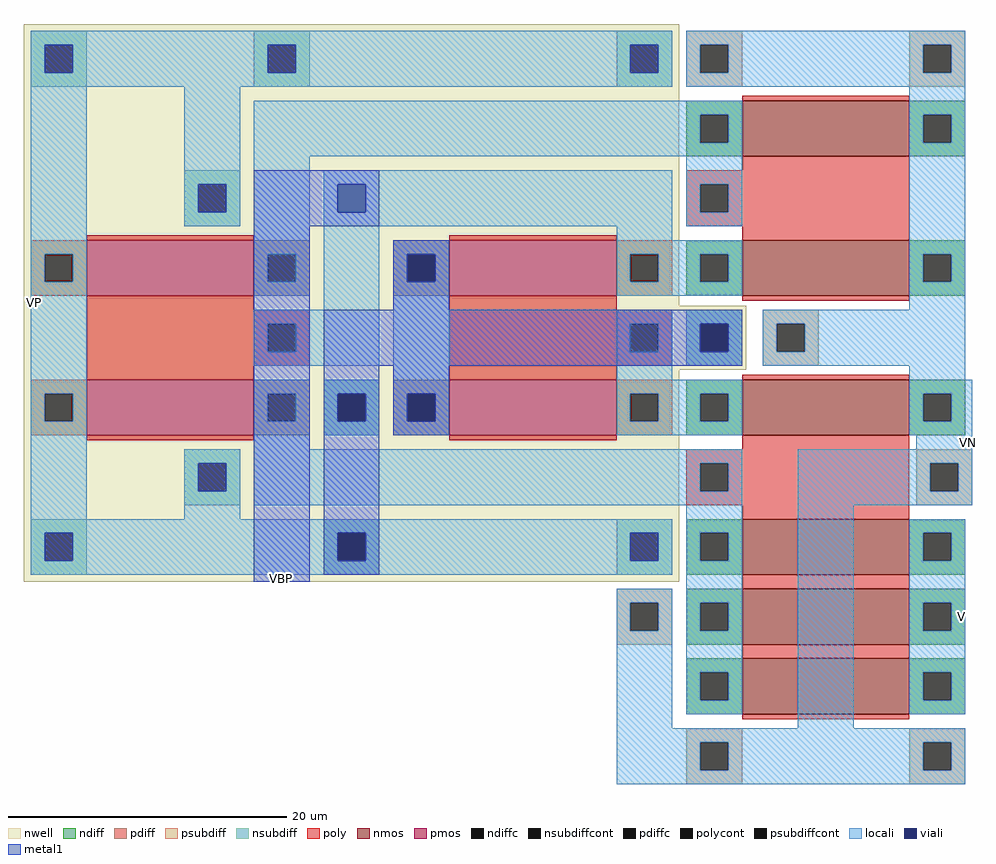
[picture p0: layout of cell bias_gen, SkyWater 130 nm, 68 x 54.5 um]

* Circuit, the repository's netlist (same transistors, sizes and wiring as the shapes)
* SPICE3 file created from bias_gen.ext - technology: sky130A

X0 a_17900_29830# a_17900_29830# VP VP sky130_fd_pr__pfet_01v8 ad=16 pd=16 as=16 ps=16 w=4 l=12
X1 VN a_15100_29900# a_17900_29830# VN sky130_fd_pr__nfet_01v8 ad=16 pd=16 as=16 ps=16 w=4 l=12
X2 a_15100_29900# VBP VP VP sky130_fd_pr__pfet_01v8 ad=16 pd=16 as=16 ps=16 w=4 l=12
X3 V a_15100_29900# a_15100_29900# VN sky130_fd_pr__nfet_01v8 ad=16 pd=16 as=16 ps=16 w=4 l=12
X4 V a_15100_29900# a_15100_29900# VN sky130_fd_pr__nfet_01v8 ad=16 pd=16 as=16 ps=16 w=4 l=12
X5 V a_15100_29900# a_15100_29900# VN sky130_fd_pr__nfet_01v8 ad=16 pd=16 as=16 ps=16 w=4 l=12
X6 VBP a_17900_29830# VP VP sky130_fd_pr__pfet_01v8 ad=16 pd=16 as=16 ps=16 w=4 l=12
X7 VN a_15100_31900# a_15100_31900# VN sky130_fd_pr__nfet_01v8 ad=16 pd=16 as=16 ps=16 w=4 l=12
X8 VN a_15100_31900# VBP VN sky130_fd_pr__nfet_01v8 ad=16 pd=16 as=16 ps=16 w=4 l=12
X9 a_15100_31900# VBP VP VP sky130_fd_pr__pfet_01v8 ad=16 pd=16 as=16 ps=16 w=4 l=12

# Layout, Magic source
magic
tech sky130A
<< nwell >>
rect 5900 15880 10600 17900
rect 5900 15420 11080 15880
rect 5900 13900 10600 15420
<< nmos >>
rect 11050 16950 12250 17350
rect 11050 15950 12250 16350
rect 11050 14950 12250 15350
rect 11050 13950 12250 14350
rect 11050 13450 12250 13850
rect 11050 12950 12250 13350
<< pmos >>
rect 6350 15950 7550 16350
rect 8950 15950 10150 16350
rect 6350 14950 7550 15350
rect 8950 14950 10150 15350
<< ndiff >>
rect 10650 17250 11050 17350
rect 10650 17050 10750 17250
rect 10950 17050 11050 17250
rect 10650 16950 11050 17050
rect 12250 17250 12650 17350
rect 12250 17050 12350 17250
rect 12550 17050 12650 17250
rect 12250 16950 12650 17050
rect 10650 16250 11050 16350
rect 10650 16050 10750 16250
rect 10950 16050 11050 16250
rect 10650 15950 11050 16050
rect 12250 16250 12650 16350
rect 12250 16050 12350 16250
rect 12550 16050 12650 16250
rect 12250 15950 12650 16050
rect 10650 15250 11050 15350
rect 10650 15050 10750 15250
rect 10950 15050 11050 15250
rect 10650 14950 11050 15050
rect 12250 15250 12650 15350
rect 12250 15050 12350 15250
rect 12550 15050 12650 15250
rect 12250 14950 12650 15050
rect 10650 14250 11050 14350
rect 10650 14050 10750 14250
rect 10950 14050 11050 14250
rect 10650 13950 11050 14050
rect 12250 14250 12650 14350
rect 12250 14050 12350 14250
rect 12550 14050 12650 14250
rect 12250 13950 12650 14050
rect 10650 13750 11050 13850
rect 10650 13550 10750 13750
rect 10950 13550 11050 13750
rect 10650 13450 11050 13550
rect 12250 13750 12650 13850
rect 12250 13550 12350 13750
rect 12550 13550 12650 13750
rect 12250 13450 12650 13550
rect 10650 13250 11050 13350
rect 10650 13050 10750 13250
rect 10950 13050 11050 13250
rect 10650 12950 11050 13050
rect 12250 13250 12650 13350
rect 12250 13050 12350 13250
rect 12550 13050 12650 13250
rect 12250 12950 12650 13050
<< pdiff >>
rect 5950 16250 6350 16350
rect 5950 16050 6050 16250
rect 6250 16050 6350 16250
rect 5950 15950 6350 16050
rect 7550 16250 7950 16350
rect 7550 16050 7650 16250
rect 7850 16050 7950 16250
rect 7550 15950 7950 16050
rect 8550 16250 8950 16350
rect 8550 16050 8650 16250
rect 8850 16050 8950 16250
rect 8550 15950 8950 16050
rect 10150 16250 10550 16350
rect 10150 16050 10250 16250
rect 10450 16050 10550 16250
rect 10150 15950 10550 16050
rect 5950 15250 6350 15350
rect 5950 15050 6050 15250
rect 6250 15050 6350 15250
rect 5950 14950 6350 15050
rect 7550 15250 7950 15350
rect 7550 15050 7650 15250
rect 7850 15050 7950 15250
rect 7550 14950 7950 15050
rect 8550 15250 8950 15350
rect 8550 15050 8650 15250
rect 8850 15050 8950 15250
rect 8550 14950 8950 15050
rect 10150 15250 10550 15350
rect 10150 15050 10250 15250
rect 10450 15050 10550 15250
rect 10150 14950 10550 15050
<< ndiffc >>
rect 10750 17050 10950 17250
rect 12350 17050 12550 17250
rect 10750 16050 10950 16250
rect 12350 16050 12550 16250
rect 10750 15050 10950 15250
rect 12350 15050 12550 15250
rect 10750 14050 10950 14250
rect 12350 14050 12550 14250
rect 10750 13550 10950 13750
rect 12350 13550 12550 13750
rect 10750 13050 10950 13250
rect 12350 13050 12550 13250
<< pdiffc >>
rect 6050 16050 6250 16250
rect 7650 16050 7850 16250
rect 8650 16050 8850 16250
rect 10250 16050 10450 16250
rect 6050 15050 6250 15250
rect 7650 15050 7850 15250
rect 8650 15050 8850 15250
rect 10250 15050 10450 15250
<< psubdiff >>
rect 10650 17750 11050 17850
rect 10650 17550 10750 17750
rect 10950 17550 11050 17750
rect 10650 17450 11050 17550
rect 12250 17750 12650 17850
rect 12250 17550 12350 17750
rect 12550 17550 12650 17750
rect 12250 17450 12650 17550
rect 11200 15750 11600 15850
rect 11200 15550 11300 15750
rect 11500 15550 11600 15750
rect 11200 15450 11600 15550
rect 12300 14750 12700 14850
rect 12300 14550 12400 14750
rect 12600 14550 12700 14750
rect 12300 14450 12700 14550
rect 10150 13750 10550 13850
rect 10150 13550 10250 13750
rect 10450 13550 10550 13750
rect 10150 13450 10550 13550
rect 10650 12750 11050 12850
rect 10650 12550 10750 12750
rect 10950 12550 11050 12750
rect 10650 12450 11050 12550
rect 12250 12750 12650 12850
rect 12250 12550 12350 12750
rect 12550 12550 12650 12750
rect 12250 12450 12650 12550
<< nsubdiff >>
rect 5950 17750 6350 17850
rect 5950 17550 6050 17750
rect 6250 17550 6350 17750
rect 5950 17450 6350 17550
rect 7550 17750 7950 17850
rect 7550 17550 7650 17750
rect 7850 17550 7950 17750
rect 7550 17450 7950 17550
rect 10150 17750 10550 17850
rect 10150 17550 10250 17750
rect 10450 17550 10550 17750
rect 10150 17450 10550 17550
rect 7050 16750 7450 16850
rect 7050 16550 7150 16750
rect 7350 16550 7450 16750
rect 7050 16450 7450 16550
rect 10650 15750 11050 15850
rect 10650 15550 10750 15750
rect 10950 15550 11050 15750
rect 10650 15450 11050 15550
rect 8050 15250 8450 15350
rect 8050 15050 8150 15250
rect 8350 15050 8450 15250
rect 8050 14950 8450 15050
rect 7050 14750 7450 14850
rect 7050 14550 7150 14750
rect 7350 14550 7450 14750
rect 7050 14450 7450 14550
rect 5950 14250 6350 14350
rect 5950 14050 6050 14250
rect 6250 14050 6350 14250
rect 5950 13950 6350 14050
rect 8050 14250 8450 14350
rect 8050 14050 8150 14250
rect 8350 14050 8450 14250
rect 8050 13950 8450 14050
rect 10150 14250 10550 14350
rect 10150 14050 10250 14250
rect 10450 14050 10550 14250
rect 10150 13950 10550 14050
<< psubdiffcont >>
rect 10750 17550 10950 17750
rect 12350 17550 12550 17750
rect 11300 15550 11500 15750
rect 12400 14550 12600 14750
rect 10250 13550 10450 13750
rect 10750 12550 10950 12750
rect 12350 12550 12550 12750
<< nsubdiffcont >>
rect 6050 17550 6250 17750
rect 7650 17550 7850 17750
rect 10250 17550 10450 17750
rect 7150 16550 7350 16750
rect 10750 15550 10950 15750
rect 8150 15050 8350 15250
rect 7150 14550 7350 14750
rect 6050 14050 6250 14250
rect 8150 14050 8350 14250
rect 10250 14050 10450 14250
<< poly >>
rect 11050 17350 12250 17385
rect 11050 16850 12250 16950
rect 10650 16750 12250 16850
rect 10650 16550 10750 16750
rect 10950 16550 12250 16750
rect 10650 16450 12250 16550
rect 6350 16350 7550 16385
rect 8950 16350 10150 16385
rect 11050 16350 12250 16450
rect 6350 15850 7550 15950
rect 8950 15850 10150 15950
rect 11050 15915 12250 15950
rect 6350 15750 7950 15850
rect 6350 15550 7650 15750
rect 7850 15550 7950 15750
rect 6350 15450 7950 15550
rect 8950 15750 10550 15850
rect 8950 15550 10250 15750
rect 10450 15550 10550 15750
rect 8950 15450 10550 15550
rect 6350 15350 7550 15450
rect 8950 15350 10150 15450
rect 11050 15350 12250 15385
rect 6350 14915 7550 14950
rect 8950 14915 10150 14950
rect 11050 14850 12250 14950
rect 10650 14750 12250 14850
rect 10650 14550 10750 14750
rect 10950 14550 12250 14750
rect 10650 14450 12250 14550
rect 11050 14350 12250 14450
rect 11050 13850 12250 13950
rect 11050 13350 12250 13450
rect 11050 12915 12250 12950
<< polycont >>
rect 10750 16550 10950 16750
rect 7650 15550 7850 15750
rect 10250 15550 10450 15750
rect 10750 14550 10950 14750
<< locali >>
rect 5950 17750 10550 17850
rect 5950 17550 6050 17750
rect 6250 17550 7650 17750
rect 7850 17550 10250 17750
rect 10450 17550 10550 17750
rect 5950 17450 10550 17550
rect 10650 17750 12650 17850
rect 10650 17550 10750 17750
rect 10950 17550 12350 17750
rect 12550 17550 12650 17750
rect 10650 17450 12650 17550
rect 5950 16250 6350 17450
rect 7050 16750 7450 17450
rect 7050 16550 7150 16750
rect 7350 16550 7450 16750
rect 7050 16450 7450 16550
rect 7550 17250 11050 17350
rect 7550 17050 10750 17250
rect 10950 17050 11050 17250
rect 7550 16950 11050 17050
rect 5950 16050 6050 16250
rect 6250 16050 6350 16250
rect 5950 15250 6350 16050
rect 7550 16250 7950 16950
rect 7550 16050 7650 16250
rect 7850 16050 7950 16250
rect 7550 15950 7950 16050
rect 8050 16750 10550 16850
rect 8050 16550 8150 16750
rect 8350 16550 10550 16750
rect 8050 16450 10550 16550
rect 10650 16750 11050 16950
rect 10650 16550 10750 16750
rect 10950 16550 11050 16750
rect 10650 16450 11050 16550
rect 12250 17250 12650 17450
rect 12250 17050 12350 17250
rect 12550 17050 12650 17250
rect 8050 15850 8450 16450
rect 10150 16350 10550 16450
rect 7550 15750 8450 15850
rect 7550 15550 7650 15750
rect 7850 15550 8450 15750
rect 7550 15450 8450 15550
rect 8550 16250 8950 16350
rect 8550 16050 8650 16250
rect 8850 16050 8950 16250
rect 5950 15050 6050 15250
rect 6250 15050 6350 15250
rect 5950 14350 6350 15050
rect 7550 15250 7950 15350
rect 7550 15050 7650 15250
rect 7850 15050 7950 15250
rect 7550 14850 7950 15050
rect 8050 15250 8450 15350
rect 8050 15050 8150 15250
rect 8350 15050 8450 15250
rect 8050 14950 8450 15050
rect 8550 15250 8950 16050
rect 10150 16250 11050 16350
rect 10150 16050 10250 16250
rect 10450 16050 10750 16250
rect 10950 16050 11050 16250
rect 10150 15950 11050 16050
rect 12250 16250 12650 17050
rect 12250 16050 12350 16250
rect 12550 16050 12650 16250
rect 12250 15850 12650 16050
rect 8550 15050 8650 15250
rect 8850 15050 8950 15250
rect 8550 14950 8950 15050
rect 10150 15750 10550 15850
rect 10150 15550 10250 15750
rect 10450 15550 10550 15750
rect 10150 15350 10550 15550
rect 10650 15750 11050 15850
rect 10650 15550 10750 15750
rect 10950 15550 11050 15750
rect 10650 15450 11050 15550
rect 11200 15750 12650 15850
rect 11200 15550 11300 15750
rect 11500 15550 12650 15750
rect 11200 15450 12650 15550
rect 12250 15350 12650 15450
rect 10150 15250 11050 15350
rect 10150 15050 10250 15250
rect 10450 15050 10750 15250
rect 10950 15050 11050 15250
rect 10150 14950 11050 15050
rect 12250 15250 12700 15350
rect 12250 15050 12350 15250
rect 12550 15050 12700 15250
rect 12250 14950 12700 15050
rect 12300 14850 12700 14950
rect 7050 14750 7450 14850
rect 7050 14550 7150 14750
rect 7350 14550 7450 14750
rect 7050 14350 7450 14550
rect 7550 14750 11050 14850
rect 7550 14550 10750 14750
rect 10950 14550 11050 14750
rect 7550 14450 11050 14550
rect 5950 14250 10550 14350
rect 5950 14050 6050 14250
rect 6250 14050 8150 14250
rect 8350 14050 10250 14250
rect 10450 14050 10550 14250
rect 5950 13950 10550 14050
rect 10650 14250 11050 14450
rect 10650 14050 10750 14250
rect 10950 14050 11050 14250
rect 10150 13750 10550 13850
rect 10150 13550 10250 13750
rect 10450 13550 10550 13750
rect 10150 12850 10550 13550
rect 10650 13750 11050 14050
rect 10650 13550 10750 13750
rect 10950 13550 11050 13750
rect 10650 13250 11050 13550
rect 10650 13050 10750 13250
rect 10950 13050 11050 13250
rect 10650 12950 11050 13050
rect 11450 14750 12700 14850
rect 11450 14550 12400 14750
rect 12600 14550 12700 14750
rect 11450 14450 12700 14550
rect 11450 12850 11850 14450
rect 12250 14250 12650 14350
rect 12250 14050 12350 14250
rect 12550 14050 12650 14250
rect 12250 13750 12650 14050
rect 12250 13550 12350 13750
rect 12550 13550 12650 13750
rect 12250 13250 12650 13550
rect 12250 13050 12350 13250
rect 12550 13050 12650 13250
rect 12250 12950 12650 13050
rect 10150 12750 12650 12850
rect 10150 12550 10750 12750
rect 10950 12550 12350 12750
rect 12550 12550 12650 12750
rect 10150 12450 12650 12550
<< viali >>
rect 8150 16550 8350 16750
rect 8650 16050 8850 16250
rect 8150 15050 8350 15250
rect 8650 15050 8850 15250
rect 10750 15550 10950 15750
rect 8150 14050 8350 14250
<< metal1 >>
rect 6050 17550 6250 17750
rect 7650 17550 7850 17750
rect 10250 17550 10450 17750
rect 7550 16750 8450 16850
rect 7150 16550 7350 16750
rect 7550 16550 8150 16750
rect 8350 16550 8450 16750
rect 7550 16450 8450 16550
rect 7150 14550 7350 14750
rect 6050 14050 6250 14250
rect 7550 13900 7950 16450
rect 8550 16250 8950 16350
rect 8550 16050 8650 16250
rect 8850 16050 8950 16250
rect 8550 15850 8950 16050
rect 8050 15750 11050 15850
rect 8050 15550 10750 15750
rect 10950 15550 11050 15750
rect 8050 15450 11050 15550
rect 8050 15250 8450 15450
rect 8050 15050 8150 15250
rect 8350 15050 8450 15250
rect 8050 14250 8450 15050
rect 8550 15250 8950 15450
rect 8550 15050 8650 15250
rect 8850 15050 8950 15250
rect 8550 14950 8950 15050
rect 8050 14050 8150 14250
rect 8350 14050 8450 14250
rect 10250 14050 10450 14250
rect 8050 13950 8450 14050
<< labels >>
rlabel locali 5950 13950 6000 17850 7 VP
port 1 w
rlabel locali 12600 12950 12650 14350 3 V
port 2 e
rlabel locali 12650 14450 12700 15350 3 VN
port 3 e
rlabel metal1 7550 13900 7950 13950 5 VBP
port 4 s
<< end >>
